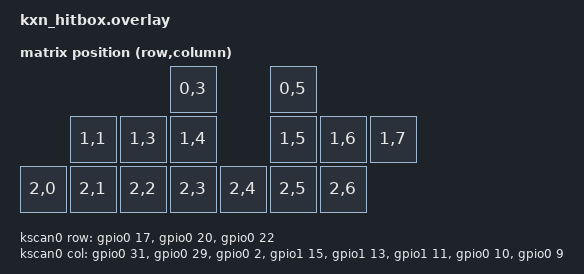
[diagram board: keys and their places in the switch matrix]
#include <dt-bindings/zmk/matrix_transform.h>

/ {
    kscan0: kscan0 {
        compatible = "zmk,kscan-gpio-matrix";
        diode-direction = "col2row";
        wakeup-source;

        row-gpios
            = <&gpio0 17 GPIO_ACTIVE_HIGH>
            , <&gpio0 20 GPIO_ACTIVE_HIGH>
            , <&gpio0 22 GPIO_ACTIVE_HIGH>
            ;

        col-gpios
            = <&gpio0 31  (GPIO_ACTIVE_HIGH | GPIO_PULL_DOWN)>
            , <&gpio0 29 (GPIO_ACTIVE_HIGH | GPIO_PULL_DOWN)>
            , <&gpio0 2  (GPIO_ACTIVE_HIGH | GPIO_PULL_DOWN)>
            , <&gpio1 15  (GPIO_ACTIVE_HIGH | GPIO_PULL_DOWN)>
            , <&gpio1 13  (GPIO_ACTIVE_HIGH | GPIO_PULL_DOWN)>
            , <&gpio1 11 (GPIO_ACTIVE_HIGH | GPIO_PULL_DOWN)>
            , <&gpio0 10 (GPIO_ACTIVE_HIGH | GPIO_PULL_DOWN)>
            , <&gpio0 9 (GPIO_ACTIVE_HIGH | GPIO_PULL_DOWN)>
            ;
    };
};

/ {
    default_transform: keymap_transform0 {
        compatible = "zmk,matrix-transform";
        columns = <8>;
        rows = <3>;
        // ┌───┬───┬───┬───┬───┬───┬───┬───┐  
        // │   │   │   │ESC│   │ALT│   │   │  
        // ├───┼───┼───┼───┼───┼───┼───┼───┤  
        // │   │ W │   │   │ T │ Y │ U │ I │  
        // ├───┼───┼───┼───┼───┼───┼───┼───┤  
        // │ A │ S │ D │ F │ G │ H │ J │   │  
        // └───┴───┴───┴───┴───┴───┴───┴───┘
        map = <
                                    RC(0,3)         RC(0,5)
                    RC(1,1)         RC(1,3) RC(1,4) RC(1,5) RC(1,6) RC(1,7)
            RC(2,0) RC(2,1) RC(2,2) RC(2,3) RC(2,4) RC(2,5) RC(2,6)
        >;
    };
};

/ {
    physical_layout0: physical_layout_0 {
        compatible = "zmk,physical-layout";
        display-name = "Default Layout";
        kscan = <&kscan0>;
        transform = <&default_transform>;
    };
};

/ {
    chosen {
        zmk,physical-layout = &physical_layout0;
        // Other chosen items
    };
};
